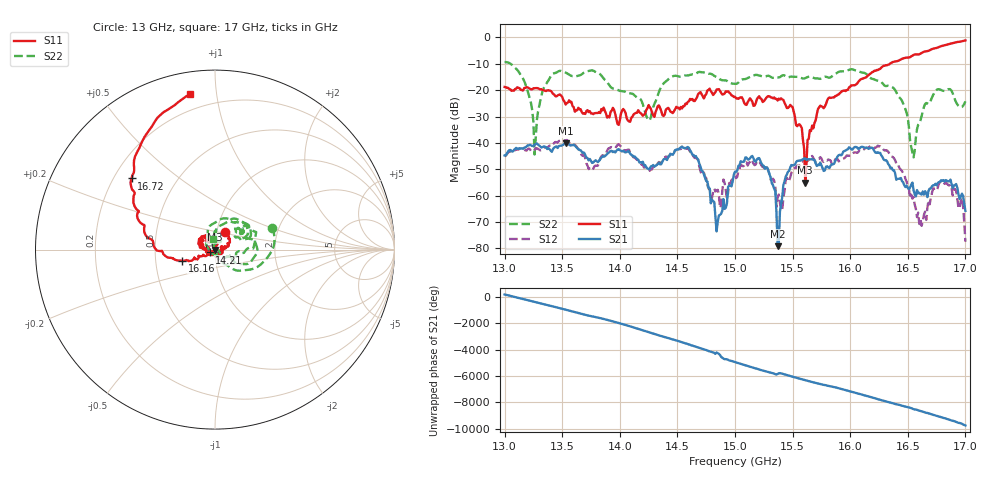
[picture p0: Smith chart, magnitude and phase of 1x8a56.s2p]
!Keysight Technologies,P9374A,MY57211807,A.19.30.04
!Date: Friday, May 08, 2026 14:15:29
!Correction: S11(C  2-Port  )
!S21(C  2-Port  )
!S12(C  2-Port  )
!S22(C  2-Port  )
!S2P File: Measurements: S11, S21, S12, S22:
# Hz S  dB  R 50
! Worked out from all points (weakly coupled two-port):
!   401 points, 13 GHz to 17 GHz, reference 50 ohm
!   highest |S21| = -40.10 dB at 13.53 GHz (marker M1); lowest = -79.2 dB at 15.37 GHz (marker M2)
!   lowest |S11| = -55.0 dB at 15.61 GHz (marker M3), VSWR 1.00, Z = 49.9 - j0.114 ohm
!   |S11| at or under -10 dB: start of sweep to 16.35 GHz
!   |S22| runs from -45.5 to -9.3 dB; largest |S21 - S12| = 0.0028
!   S11 on the Smith chart (normalised r, x): 13 GHz: 1.10, +0.22; 14.21 GHz: 0.94, -0.03; 16.16 GHz: 0.69, -0.09; 16.72 GHz: 0.27, +0.34; 17 GHz: 0.11, +0.84
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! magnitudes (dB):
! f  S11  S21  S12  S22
! 13 GHz  -18.8  -44.8  -45.1  -9.3
! 13.27 GHz  -19.2  -40.4  -42.0  -38.4
! 13.35 GHz  -20.2  -41.4  -41.6  -18.4
! 13.53 GHz  -25.4  -40.1  -39.0  -13.4
! 13.67 GHz  -28.4  -43.4  -44.7  -14.0
! 14.21 GHz  -29.3  -48.4  -49.4  -26.9
! 14.34 GHz  -25.8  -47.5  -47.2  -20.6
! 14.6 GHz  -24.2  -41.9  -42.5  -14.3
! 14.85 GHz  -19.7  -69.9  -57.8  -15.3
! 15 GHz  -22.5  -50.9  -52.5  -17.6
! 15.22 GHz  -23.1  -46.8  -47.7  -14.6
! 15.37 GHz  -23.9  -79.2  -60.8  -15.1
! 15.46 GHz  -26.8  -50.9  -54.6  -15.1
! 15.61 GHz  -55.0  -45.9  -46.5  -15.4
! 15.67 GHz  -33.4  -46.1  -45.0  -15.1
! 16.16 GHz  -14.3  -42.3  -41.9  -14.8
! 16.34 GHz  -10.2  -48.5  -44.1  -18.4
! 16.54 GHz  -6.9  -55.0  -61.2  -43.6
! 16.62 GHz  -5.9  -59.6  -71.5  -29.8
! 16.72 GHz  -4.3  -56.1  -57.2  -21.8
! 16.9 GHz  -2.1  -56.2  -57.4  -22.4
! 17 GHz  -1.2  -65.8  -77.5  -24.3
